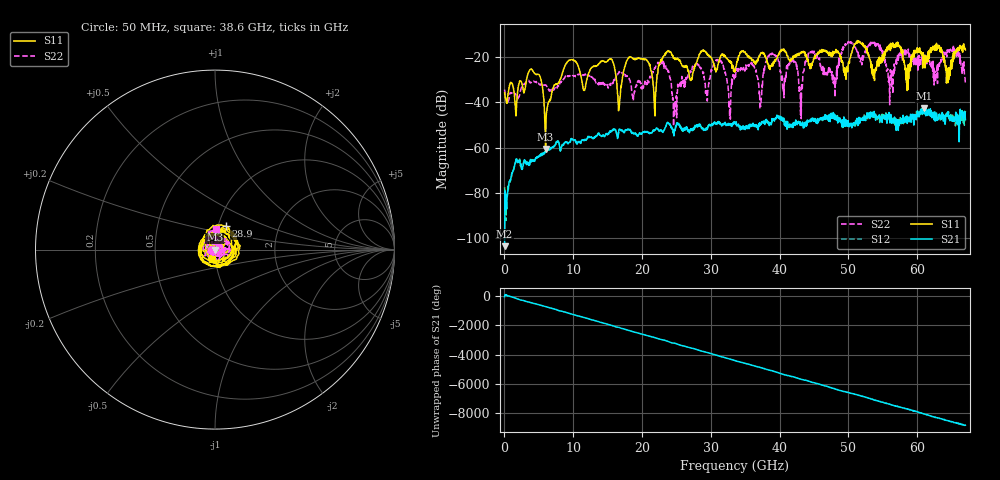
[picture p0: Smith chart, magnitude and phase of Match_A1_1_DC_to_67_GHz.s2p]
#  HZ  S  MA  R  50.00
! Rohde & Schwarz ZVA67 4Ports - Version 4.11 - 1305.7002k04 SN: 101051
! Date: 2023-05-31 11:12:00
! Measurements: S11 S21 S12 S22
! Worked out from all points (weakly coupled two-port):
!   1340 points, 50 MHz to 67 GHz, reference 50 ohm
!   highest |S21| = -42.54 dB at 61.05 GHz (marker M1); lowest = -103.7 dB at 50 MHz (marker M2)
!   lowest |S11| = -60.7 dB at 6 GHz (marker M3), VSWR 1.00, Z = 49.9 + j0.00919 ohm
!   |S11| at or under -10 dB: start of sweep to end of sweep
!   |S22| runs from -50.5 to -13.0 dB; largest |S21 - S12| = 0.004
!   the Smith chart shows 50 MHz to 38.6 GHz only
!   S11 on the Smith chart (normalised r, x): 50 MHz: 0.97, +0.00; 28.9 GHz: 1.08, +0.29; 38.6 GHz: 0.97, -0.10
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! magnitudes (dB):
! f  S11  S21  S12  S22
! 50 MHz  -35.6  -103.7  -77.5  -34.3
! 4 GHz  -25.3  -66.1  -65.8  -31.2
! 6 GHz  -60.7  -62.0  -61.8  -32.3
! 9.3 GHz  -21.5  -58.3  -58.0  -28.2
! 11.25 GHz  -30.1  -56.7  -56.8  -27.5
! 15.45 GHz  -20.9  -52.6  -52.6  -32.4
! 16.7 GHz  -42.0  -51.9  -52.0  -26.3
! 18.8 GHz  -20.5  -53.9  -53.8  -36.4
! 22.4 GHz  -24.0  -52.1  -52.1  -22.4
! 24.75 GHz  -20.8  -52.3  -52.5  -45.6
! 28.9 GHz  -16.8  -51.4  -51.9  -27.3
! 33.55 GHz  -26.0  -49.3  -49.7  -27.5
! 37.25 GHz  -18.2  -49.6  -49.3  -41.7
! 38.6 GHz  -25.4  -49.9  -49.2  -18.6
! 43.05 GHz  -17.8  -49.3  -49.5  -45.5
! 44.7 GHz  -23.7  -47.0  -48.0  -17.3
! 47.95 GHz  -18.0  -47.5  -46.6  -30.1
! 49.75 GHz  -24.3  -49.2  -49.7  -14.1
! 53.65 GHz  -29.1  -45.7  -46.4  -13.5
! 55.85 GHz  -16.6  -46.3  -46.1  -30.9
! 61.05 GHz  -22.9  -42.5  -44.6  -19.9
! 67 GHz  -16.7  -47.7  -43.8  -31.8
